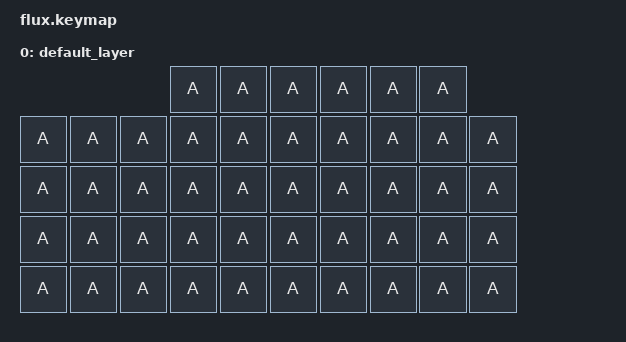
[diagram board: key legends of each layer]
#include <behaviors.dtsi>
#include <dt-bindings/zmk/keys.h>
#include <dt-bindings/zmk/bt.h>

/ {
    keymap {
        compatible = "zmk,keymap";

        default_layer {
            bindings = <
                                        &kp A   &kp A   &kp A   &kp A   &kp A   &kp A
                &kp A   &kp A   &kp A   &kp A   &kp A   &kp A   &kp A   &kp A   &kp A   &kp A
                &kp A   &kp A   &kp A   &kp A   &kp A   &kp A   &kp A   &kp A   &kp A   &kp A
                &kp A   &kp A   &kp A   &kp A   &kp A   &kp A   &kp A   &kp A   &kp A   &kp A
                &kp A   &kp A   &kp A   &kp A   &kp A   &kp A   &kp A   &kp A   &kp A   &kp A
            >;
        };
    };
};
